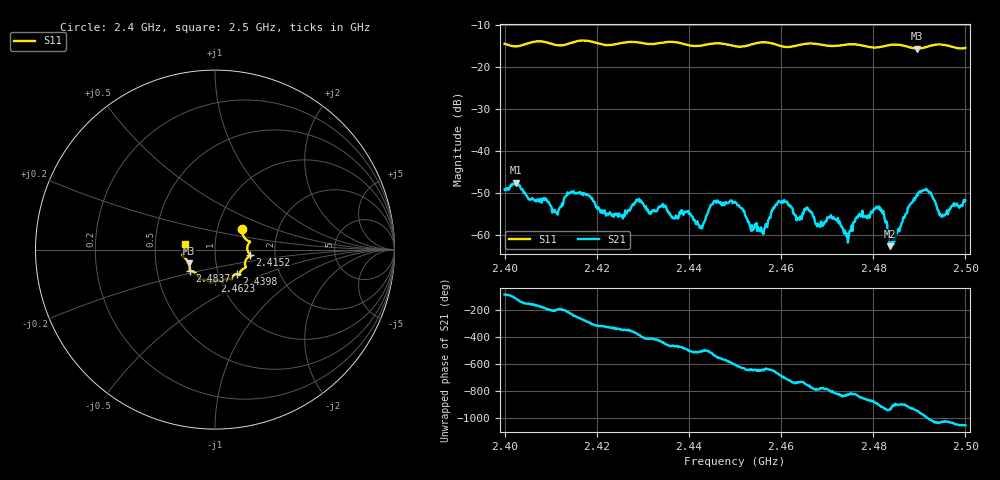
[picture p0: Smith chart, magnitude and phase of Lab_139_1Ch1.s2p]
# Hz S RI R 50
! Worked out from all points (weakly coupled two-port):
!   601 points, 2.4 GHz to 2.5 GHz, reference 50 ohm
!   highest |S21| = -47.64 dB at 2.4025 GHz (marker M1); lowest = -62.8 dB at 2.4837 GHz (marker M2)
!   lowest |S11| = -15.7 dB at 2.4895 GHz (marker M3), VSWR 1.39, Z = 36.8 - j5.72 ohm
!   |S11| at or under -10 dB: start of sweep to end of sweep
!   S12 and S22 are empty: the file has one direction only
!   S11 on the Smith chart (normalised r, x): 2.4 GHz: 1.31, +0.31; 2.4152 GHz: 1.48, -0.09; 2.4398 GHz: 1.22, -0.34; 2.4623 GHz: 0.94, -0.34; 2.4837 GHz: 0.74, -0.18; 2.5 GHz: 0.72, +0.05
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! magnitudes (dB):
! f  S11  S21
! 2.4 GHz  -14.5  -49.2
! 2.4025 GHz  -15.1  -47.6
! 2.411 GHz  -14.8  -54.6
! 2.4152 GHz  -14.1  -50.2
! 2.4167 GHz  -13.7  -50.1
! 2.4235 GHz  -14.7  -55.2
! 2.4333 GHz  -14.4  -53.6
! 2.4398 GHz  -14.8  -54.3
! 2.4427 GHz  -15.0  -58.0
! 2.4453 GHz  -14.4  -52.3
! 2.45 GHz  -15.1  -52.2
! 2.4557 GHz  -14.2  -58.3
! 2.4593 GHz  -14.9  -52.2
! 2.4623 GHz  -15.2  -53.6
! 2.4667 GHz  -14.4  -54.7
! 2.4742 GHz  -14.7  -60.4
! 2.481 GHz  -15.4  -53.7
! 2.4833 GHz  -14.9  -59.1
! 2.4837 GHz  -14.8  -62.8
! 2.4895 GHz  -15.7  -50.4
! 2.4952 GHz  -14.7  -55.7
! 2.5 GHz  -15.5  -51.8
